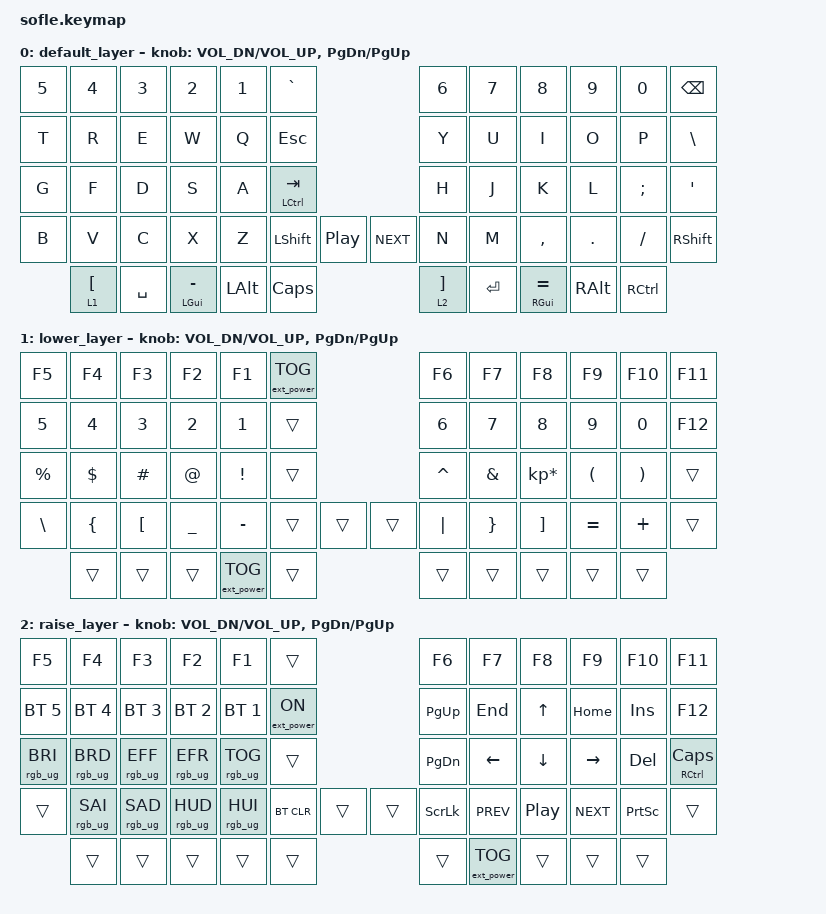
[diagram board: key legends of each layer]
/*
 * Copyright (c) 2020 The ZMK Contributors
 *
 * SPDX-License-Identifier: MIT
 */

#include <behaviors.dtsi>
#include <dt-bindings/zmk/keys.h>
#include <dt-bindings/zmk/bt.h>
#include <dt-bindings/zmk/ext_power.h>
#include <dt-bindings/zmk/rgb.h>
#include <encoder.c>

/ {
    keymap {
        compatible = "zmk,keymap";

        default_layer {
        
//*
// * QWERTY
// * ,-----------------------------------------.                    ,-----------------------------------------.
// * |  `   |   1  |   2  |   3  |   4  |   5  |                    |   6  |   7  |   8  |   9  |   0  |  `   |
// * |------+------+------+------+------+------|                    |------+------+------+------+------+------|
// * | ESC  |   Q  |   W  |   E  |   R  |   T  |                    |   Y  |   U  |   I  |   O  |   P  | Bspc |
//* |------+------+------+------+------+------|                    |------+------+------+------+------+------|
// * | Tab  |   A  |   S  |   D  |   F  |   G  |-------.    ,-------|   H  |   J  |   K  |   L  |   ;  |  '   |
// * |------+------+------+------+------+------|Play,VOL|   |       |------+------+------+------+------+------|
// * |LShift|   Z  |   X  |   C  |   V  |   B  |-------|    |-------|   N  |   M  |   ,  |   .  |   /  |RShift|
// * `-----------------------------------------/       /     \      \-----------------------------------------'
// *            | LGUI | LAlt | LCTR |LOWER | /Enter  /       \Space \  |RAISE | RCTR | RAlt | RGUI |
//*            |      |      |      |      |/       /         \      \ |      |      |      |      |
// *            `----------------------------------'           '------''---------------------------'
 //
 
// ------------------------------------------------------------------------------------------------------------
// |  `    |  1  |  2  |  3   |  4   |  5   |                   |  6   |  7    |  8    |  9   |   0   | BKSPC |
// | C/ESC |  Q  |  W  |  E   |  R   |  T   |                   |  Y   |  U    |  I    |  O   |   P   |   \   |
// | TAB   |  A  |  S  |  D   |  F   |  G   |                   |  H   |  J    |  K    |  L   |   ;   |  '  |
// | SHIFT |  Z  |  X  |  C   |  V   |  B   |  PLAY  |  | NEXT  |  N   |  M    |  ,    |  .   |   /   | SHIFT |
//               | CAPS| ALT  | GUI/-| SPACE|LOWER/[ |  |RAISE/]| ENTER|  GUI/=|  ALT  | CTRL |
           
           
           bindings = <
&kp N5    &kp N4 &kp N3    &kp N2    &kp N1         &kp GRAVE                            &kp N6   &kp N7         &kp N8    &kp N9   &kp N0   &kp BSPC
&kp T     &kp R  &kp E     &kp W     &kp Q          &kp ESC                              &kp Y     &kp U         &kp I     &kp O    &kp P    &kp BSLH
&kp G     &kp F  &kp D     &kp S     &kp A          &mt LCTRL TAB                        &kp H    &kp J          &kp K     &kp L    &kp SEMI &kp SQT
&kp B     &kp V  &kp C     &kp X     &kp Z          &kp LSHFT     &kp C_PP  &kp C_NEXT   &kp N   &kp M           &kp COMMA &kp DOT  &kp FSLH &kp RSHFT
             &lt 1 LBKT  &kp SPACE  &mt LGUI MINUS &kp LALT &kp CLCK                     &lt 2 RBKT &kp RET &mt RGUI EQUAL &kp RALT  &kp RCTRL
            >;

            sensor-bindings = <&inc_dec_kp C_VOL_DN C_VOL_UP &inc_dec_kp PG_DN PG_UP>;
        };

        lower_layer {
// ------------------------------------------------------------------------------------------------------------
// |   TOG    |  F1 |  F2 |  F3  |  F4  |  F5  |                   |  F6  |  F7   |  F8   |  F9  |  F10  |  F11  |
// |       |   1 |   2 |   3  |   4  |   5  |                   |   6  |   7   |   8   |   9  |    0  |  F12  |
// |       |  !  |  @  |  #   |  $   |  %   |                   |  ^   |  &    |  *    |  (   |   )   |       |
// |       |  -  |  _  |  [   |  {   |  \   |        |  |       |  |   |  }    |  ]    |  =   |   +   |       |
//               |     |      |      |      |        |  |       |      |       |       |      |
            bindings = <
&kp F5    &kp F4    &kp F3    &kp F2   &kp F1    &ext_power EP_TOG                &kp F6    &kp F7   &kp F8          &kp F9    &kp F10   &kp F11
&kp N5    &kp N4    &kp N3    &kp N2   &kp N1    &trans                           &kp N6    &kp N7   &kp N8          &kp N9    &kp N0    &kp F12
&kp PRCNT &kp DLLR  &kp HASH  &kp AT &kp EXCL  &trans                        &kp CARET &kp AMPS &kp KP_MULTIPLY &kp LPAR  &kp RPAR  &trans
&kp BSLH &kp LBRC &kp LBKT &kp UNDER &kp MINUS  &trans          &trans  &trans &kp PIPE  &kp RBRC &kp RBKT        &kp EQUAL &kp PLUS  &trans
                 &trans    &trans   &trans    &ext_power EP_TOG &trans  &trans &trans    &trans   &trans          &trans
            >;

            sensor-bindings = <&inc_dec_kp C_VOL_DN C_VOL_UP &inc_dec_kp PG_DN PG_UP>;
        };

        raise_layer {
// ------------------------------------------------------------------------------------------------------------
// |  ON   |  F1  |  F2  |  F3   |  F4   |  F5  |                |  F6  |  F7  |  F8   |  F9  |  F10  |  F11  |
// |     | BT1  | BT2  |  BT3  |  BT4  |  BT5 |                | PGUP |  END |   ^   | HOME |  INS  |  F12  |
// |     | RGBT | RGB- | RGB+  |  BR-  |  BR+ |                | PGDN |   <- |   v   | ->   |  DEL  | C/CAPS|
// |     |BTCLR | HUD  | HUI   |  SAD  |  SAI |      |  |      | SCRL | PRVS | PLAY  | NEXT |  PSCR |       |
//              |      |       |       |      |      |  |      |      |      |       |      |
            bindings = <
&kp F5 &kp F4          &kp F3          &kp F2          &kp F1          &trans                         &kp F6             &kp F7     &kp F8   &kp F9     &kp F10   &kp F11
&bt BT_SEL 5 &bt BT_SEL 4    &bt BT_SEL 3    &bt BT_SEL 2    &bt BT_SEL 1    &ext_power EP_ON                   &kp PG_UP          &kp END    &kp UP   &kp HOME   &kp INS   &kp F12
&rgb_ug RGB_BRI &rgb_ug RGB_BRD &rgb_ug RGB_EFF &rgb_ug RGB_EFR &rgb_ug RGB_TOG &trans                &kp PG_DN          &kp LEFT   &kp DOWN &kp RIGHT  &kp DEL   &mt RCTRL CLCK
&trans &rgb_ug RGB_SAI &rgb_ug RGB_SAD &rgb_ug RGB_HUD &rgb_ug RGB_HUI &bt BT_CLR &trans  &trans &kp SLCK           &kp C_PREV &kp C_PP &kp C_NEXT &kp PSCRN &trans
                       &trans          &trans          &trans          &trans          &trans  &trans &ext_power EP_TOG  &trans     &trans   &trans
            >;

            sensor-bindings = <&inc_dec_kp C_VOL_DN C_VOL_UP &inc_dec_kp PG_DN PG_UP>;
        };
    };
};
